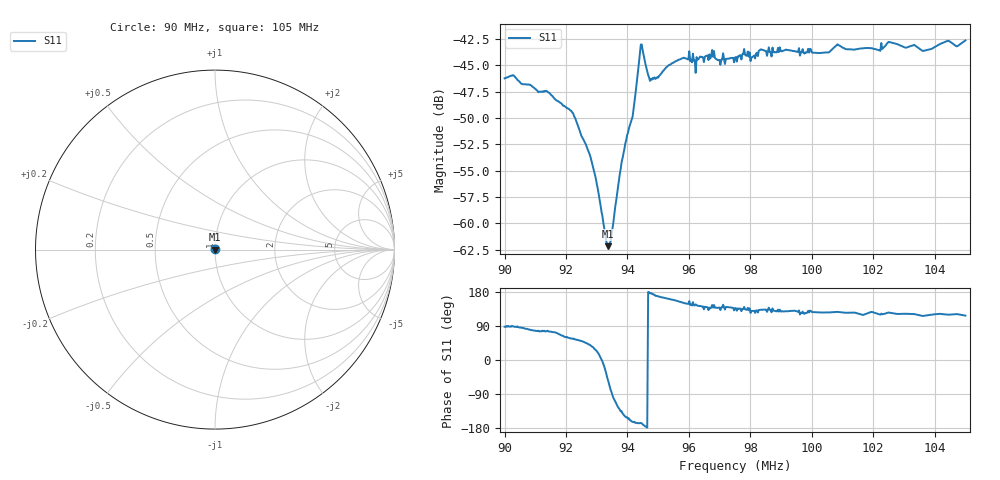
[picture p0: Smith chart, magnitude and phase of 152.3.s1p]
# HZ S RI R 50
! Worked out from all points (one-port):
!   505 points, 90 MHz to 105 MHz, reference 50 ohm
!   lowest |S11| = -62.2 dB at 93.36 MHz (marker M1), VSWR 1.00, Z = 50 - j0.0616 ohm
!   |S11| at or under -10 dB: start of sweep to end of sweep
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9e7  0.000193 0.00488
9.029762e7  0.000133 0.00503
9.187501e7  0.0016 0.00331
9.223215e7  0.00188 0.00275
9.276787e7  0.00162 0.00138
9.29762e7  0.00145 0.000696
9.327382e7  0.000788 -0.000384
9.336311e7  0.000477 -0.000615
9.348215e7  6.96e-05 -0.000884
9.375001e7  -0.00113 -0.00129
9.416668e7  -0.00307 -0.000931
9.443454e7  -0.00687 -0.00169
9.449406e7  -0.00653 -0.00118
9.467263e7  -0.00507 4.88e-05
9.479168e7  -0.00479 0.000465
9.562502e7  -0.0054 0.00245
9.622026e7  -0.00434 0.00284
9.678574e7  -0.0046 0.00412
9.696431e7  -0.00444 0.00399
9.750002e7  -0.00448 0.00419
9.836312e7  -0.00455 0.00491
9.937503e7  -0.0042 0.00507
1.0125e8  -0.00384 0.0055
1.021727e8  -0.00345 0.00569
1.025298e8  -0.00415 0.00595
1.03125e8  -0.00362 0.00584
1.036608e8  -0.00298 0.0059
1.05e8  -0.00337 0.00658
